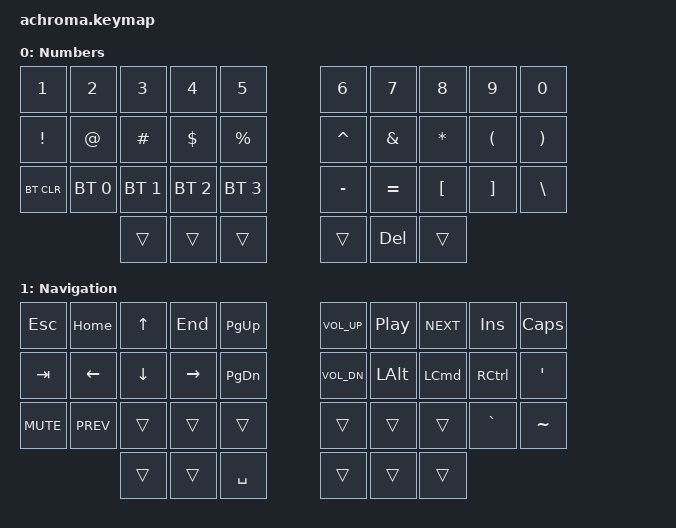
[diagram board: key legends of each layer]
#include <behaviors.dtsi>
#include <dt-bindings/zmk/keys.h>
#include <dt-bindings/zmk/bt.h>
#include <dt-bindings/zmk/outputs.h>
#include <dt-bindings/zmk/ext_power.h>

/ {
    keymap {
        compatible = "zmk,keymap";

        // Layer 0: QWERTY
        default_layer {
            display-name = "Base";

            bindings = <
                // Left                                      Right
                &kp Q       &kp W       &kp E       &kp R       &kp T       &kp Y       &kp U       &kp I       &kp O       &kp P
                &kp A       &kp S       &kp D       &kp F       &kp G       &kp H       &kp J       &kp K       &kp L       &kp SEMI
                &kp Z       &kp X       &kp C       &kp V       &kp B       &kp N       &kp M       &kp COMMA   &kp DOT     &kp FSLH

                // Thumbs (Fixed the missing &kp prefixes for the thumb key behaviors)
                &kp LCTRL   &kp LSHIFT  &lt 1 &kp SPACE                         &lt 2 &kp BSPC &kp ENTER   &kp RALT
        };

        // Layer 1: Numbers and symbols
        lower_layer {
            display-name = "Numbers";

            bindings = <
                &kp N1       &kp N2       &kp N3       &kp N4       &kp N5       &kp N6       &kp N7       &kp N8       &kp N9       &kp N0
                &kp EXCL     &kp AT       &kp HASH     &kp DLLR     &kp PRCNT    &kp CARET    &kp AMPS     &kp ASTRK    &kp LPAR     &kp RPAR
                &bt BT_CLR   &bt BT_SEL 0 &bt BT_SEL 1 &bt BT_SEL 2 &bt BT_SEL 3 &kp MINUS    &kp EQUAL    &kp LBKT     &kp RBKT     &kp BSLH
                
                &trans       &trans       &trans                                 &trans       &kp DEL      &trans
            >;
        };

        // Layer 2: Navigation and editing
        raise_layer {
            display-name = "Navigation";

            bindings = <
                &kp ESC       &kp HOME      &kp UP        &kp END       &kp PG_UP     &kp C_VOL_UP  &kp C_PP     &kp C_NEXT   &kp INS      &kp CAPS
                &kp TAB       &kp LEFT      &kp DOWN      &kp RIGHT     &kp PG_DN     &kp C_VOL_DN  &kp LALT     &kp LCMD     &kp RCTRL    &kp SQT
                &kp C_MUTE    &kp C_PREV    &trans        &trans        &trans        &trans        &trans       &trans       &kp GRAVE    &kp TILDE

                &trans        &trans        &kp SPACE                                 &trans       &trans       &trans
            >;
        };
    };
};
